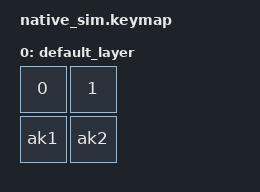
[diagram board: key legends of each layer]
#include <dt-bindings/zmk/keys.h>
#include <behaviors.dtsi>
#include <dt-bindings/zmk/kscan_mock.h>

/ {
    behaviors {
        ak1: ak1 {
            compatible = "zmk,behavior-adaptive-key";
            #binding-cells = <0>;
            bindings = <&none>;
            dead-keys = <N0>;

            trigger_one {
                trigger-keys = <N0>;
                bindings = <&kp A>;
            };
        };

        ak2: ak2 {
            compatible = "zmk,behavior-adaptive-key";
            #binding-cells = <0>;
            bindings = <&none>;
            dead-keys = <N1>;

            trigger_one {
                trigger-keys = <N1>;
                bindings = <&kp B>;
            };
        };
    };

    keymap {
        compatible = "zmk,keymap";
        default_layer {
            bindings = <
                &kp N0 &kp N1
                &ak1 &ak2
            >;
        };
    };
};

&kscan {
    events = <
        ZMK_MOCK_PRESS(0,1,10)
        ZMK_MOCK_RELEASE(0,1,200)
        ZMK_MOCK_PRESS(1,1,100)
        ZMK_MOCK_RELEASE(1,1,10)
    >;
};
